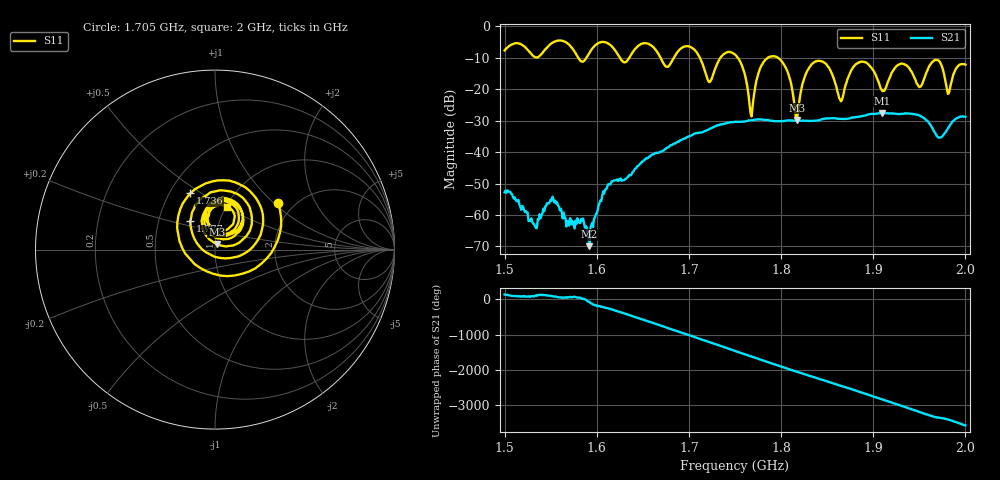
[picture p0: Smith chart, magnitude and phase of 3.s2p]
! NanoVNA-App by SYSJOINT et al v1.1.209 (+OD18)
! Date: 2026-01-21 14:41:11
! Start: 1,5GHz Stop: 2GHz Points: 501
! S-Parameter data: F S11 S21 S12 S22
# Hz S RI R 50
!  Frequency  S11_Real  S11_Imag  S21_Real  S21_Imag  S12_Real  S12_Imag  S22_Real  S22_Imag
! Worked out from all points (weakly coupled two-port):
!   501 points, 1.5 GHz to 2 GHz, reference 50 ohm
!   highest |S21| = -27.56 dB at 1.91 GHz (marker M1); lowest = -69.9 dB at 1.592 GHz (marker M2)
!   lowest |S11| = -29.8 dB at 1.817 GHz (marker M3), VSWR 1.07, Z = 50.9 + j3.14 ohm
!   |S11| at or under -10 dB: 1.712 GHz to 1.734 GHz (22.2 MHz wide, 1.29 % of centre); 1.753 GHz to 1.786 GHz (32.47 MHz wide, 1.83 % of centre); 1.797 GHz to end of sweep (the widest 3 of 6)
!   S12 and S22 are empty: the file has one direction only
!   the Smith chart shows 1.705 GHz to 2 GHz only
!   S11 on the Smith chart (normalised r, x): 1.705 GHz: 1.66, +1.06; 1.736 GHz: 0.63, +0.45; 1.777 GHz: 0.72, +0.24; 2 GHz: 1.01, +0.51
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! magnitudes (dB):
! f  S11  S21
! 1.5 GHz  -7.7  -52.8
! 1.533 GHz  -9.8  -63.6
! 1.551 GHz  -5.4  -55.4
! 1.584 GHz  -11.2  -61.8
! 1.592 GHz  -8.5  -69.9
! 1.614 GHz  -5.8  -50.3
! 1.667 GHz  -8.8  -40.2
! 1.705 GHz  -7.2  -34.3
! 1.722 GHz  -17.7  -32.7
! 1.736 GHz  -9.3  -31.1
! 1.75 GHz  -9.0  -30.3
! 1.767 GHz  -27.8  -29.9
! 1.777 GHz  -13.6  -29.6
! 1.8 GHz  -10.9  -30.2
! 1.817 GHz  -29.8  -30.0
! 1.834 GHz  -11.8  -30.1
! 1.865 GHz  -23.8  -29.4
! 1.886 GHz  -11.4  -28.7
! 1.91 GHz  -20.6  -27.6
! 1.917 GHz  -16.9  -27.7
! 1.982 GHz  -21.3  -32.0
! 2 GHz  -12.2  -28.8
